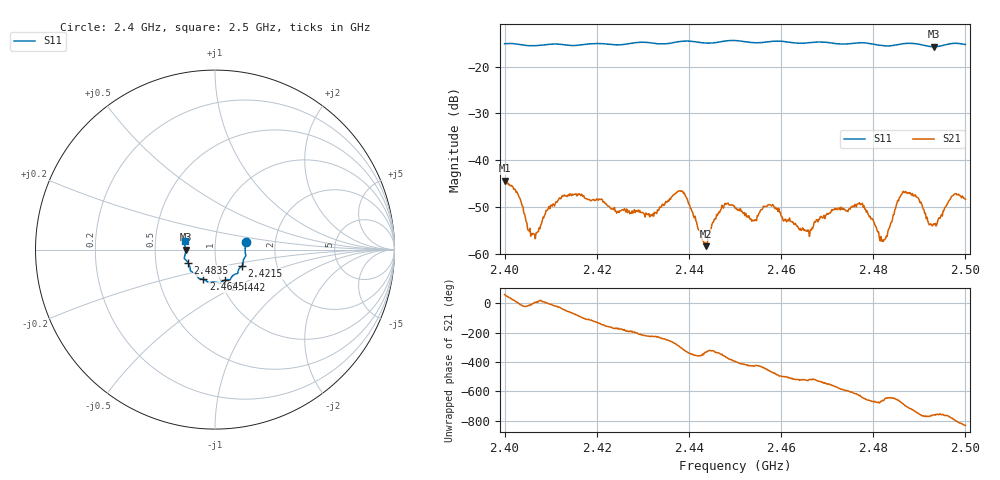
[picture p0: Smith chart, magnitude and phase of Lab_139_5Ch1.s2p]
# Hz S RI R 50
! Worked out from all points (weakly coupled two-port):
!   601 points, 2.4 GHz to 2.5 GHz, reference 50 ohm
!   highest |S21| = -44.36 dB at 2.4 GHz (marker M1); lowest = -58.4 dB at 2.4437 GHz (marker M2)
!   lowest |S11| = -15.7 dB at 2.4932 GHz (marker M3), VSWR 1.39, Z = 35.9 - j0.0629 ohm
!   |S11| at or under -10 dB: start of sweep to end of sweep
!   S12 and S22 are empty: the file has one direction only
!   S11 on the Smith chart (normalised r, x): 2.4 GHz: 1.41, +0.12; 2.4215 GHz: 1.33, -0.25; 2.4442 GHz: 1.05, -0.37; 2.4645 GHz: 0.83, -0.29; 2.4835 GHz: 0.73, -0.11; 2.5 GHz: 0.71, +0.07
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2.4e9  0.1712 0.0401  0.00303 0.00524  0 0  0 0
2.406167e9  0.1676 -0.00334  0.00165 -5.85e-05  0 0  0 0
2.412167e9  0.1693 -0.0381  0.00328 -0.00204  0 0  0 0
2.416667e9  0.1567 -0.0699  -0.000364 -0.00431  0 0  0 0
2.4215e9  0.1513 -0.09  -0.00302 -0.00198  0 0  0 0
2.433333e9  0.1084 -0.1384  -0.00191 0.00217  0 0  0 0
2.4385e9  0.0855 -0.1666  0.00273 0.00374  0 0  0 0
2.443667e9  0.0613 -0.1682  0.00106 0.000565  0 0  0 0
2.444167e9  0.0567 -0.1693  0.00126 0.00088  0 0  0 0
2.447333e9  0.0331 -0.1835  0.00315 0.000291  0 0  0 0
2.45e9  0.0252 -0.1891  0.00254 -0.00175  0 0  0 0
2.454167e9  -8.93e-05 -0.1807  0.000789 -0.0021  0 0  0 0
2.457833e9  -0.0275 -0.1843  -0.000894 -0.00317  0 0  0 0
2.4645e9  -0.0657 -0.1659  -0.0017 -0.000551  0 0  0 0
2.466667e9  -0.0826 -0.162  -0.00176 -0.000661  0 0  0 0
2.477167e9  -0.1356 -0.1192  -0.00013 0.00334  0 0  0 0
2.481833e9  -0.1415 -0.0913  0.000802 0.0011  0 0  0 0
2.483333e9  -0.149 -0.075  0.000436 0.00178  0 0  0 0
2.4835e9  -0.1499 -0.0735  0.000432 0.00182  0 0  0 0
2.487e9  -0.1702 -0.0507  0.00434 0.00163  0 0  0 0
2.493167e9  -0.1635 -0.000852  0.00159 -0.00136  0 0  0 0
2.5e9  -0.1653 0.0504  -0.00137 -0.00356  0 0  0 0
